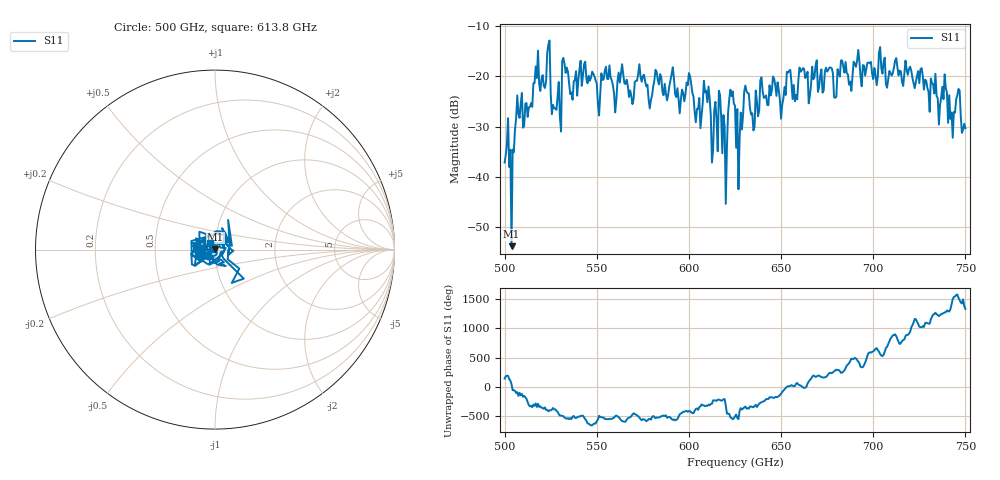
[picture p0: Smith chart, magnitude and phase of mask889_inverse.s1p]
!Created with skrf (http://scikit-rf.org).
# GHz S MA R 50.0
!freq magS11 angS11
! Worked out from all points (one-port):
!   401 points, 500 GHz to 750 GHz, reference 50 ohm
!   lowest |S11| = -53.8 dB at 503.8 GHz (marker M1), VSWR 1.00, Z = 50.2 + j0.139 ohm
!   |S11| at or under -10 dB: start of sweep to end of sweep
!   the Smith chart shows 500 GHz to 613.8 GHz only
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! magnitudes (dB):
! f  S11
! 500 GHz  -37.1
! 503.8 GHz  -53.8
! 508.1 GHz  -28.3
! 513.8 GHz  -26.0
! 516.9 GHz  -18.0
! 523.8 GHz  -13.6
! 526.9 GHz  -26.3
! 531.2 GHz  -16.9
! 532.5 GHz  -17.5
! 562.5 GHz  -21.2
! 593.8 GHz  -22.4
! 609.4 GHz  -22.8
! 612.5 GHz  -37.1
! 617.5 GHz  -28.1
! 619.4 GHz  -30.0
! 622.5 GHz  -22.6
! 625 GHz  -25.8
! 626.9 GHz  -42.5
! 631.2 GHz  -23.0
! 634.4 GHz  -27.3
! 640 GHz  -22.9
! 656.2 GHz  -24.5
! 687.5 GHz  -21.0
! 718.8 GHz  -19.7
! 738.8 GHz  -19.6
! 741.9 GHz  -28.5
! 746.2 GHz  -22.5
! 750 GHz  -30.3
